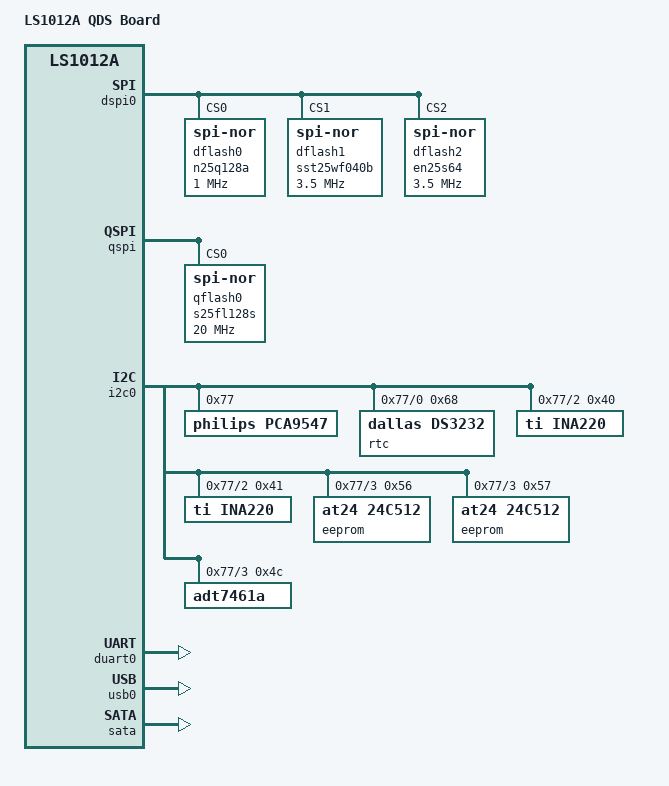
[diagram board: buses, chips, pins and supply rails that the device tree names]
// SPDX-License-Identifier: GPL-2.0+ OR X11
/*
 * Copyright 2016 Freescale Semiconductor
 */

/include/ "fsl-ls1012a.dtsi"

/ {
	model = "LS1012A QDS Board";
	aliases {
		spi0 = &qspi;
		spi1 = &dspi0;
	};
};

&dspi0 {
	bus-num = <0>;
	status = "okay";

	dflash0: n25q128a {
		#address-cells = <1>;
		#size-cells = <1>;
		compatible = "jedec,spi-nor";
		reg = <0>;
		spi-max-frequency = <1000000>; /* input clock */
	};

	dflash1: sst25wf040b {
		#address-cells = <1>;
		#size-cells = <1>;
		compatible = "jedec,spi-nor";
		spi-max-frequency = <3500000>;
		reg = <1>;
	};

	dflash2: en25s64 {
		#address-cells = <1>;
		#size-cells = <1>;
		compatible = "jedec,spi-nor";
		spi-max-frequency = <3500000>;
		reg = <2>;
	};
};

&qspi {
	bus-num = <0>;
	status = "okay";

	qflash0: s25fl128s@0 {
		#address-cells = <1>;
		#size-cells = <1>;
		compatible = "jedec,spi-nor";
		spi-max-frequency = <20000000>;
		reg = <0>;
	};
};

&i2c0 {
	status = "okay";
	pca9547@77 {
		compatible = "philips,pca9547";
		reg = <0x77>;
		#address-cells = <1>;
		#size-cells = <0>;

		i2c@0 {
			#address-cells = <1>;
			#size-cells = <0>;
			reg = <0x0>;

			rtc@68 {
				compatible = "dallas,ds3232";
				reg = <0x68>;
				/* IRQ10_B */
				interrupts = <0 150 0x4>;
			};
		};

		i2c@2 {
			#address-cells = <1>;
			#size-cells = <0>;
			reg = <0x2>;

			ina220@40 {
				compatible = "ti,ina220";
				reg = <0x40>;
				shunt-resistor = <1000>;
			};

			ina220@41 {
				compatible = "ti,ina220";
				reg = <0x41>;
				shunt-resistor = <1000>;
			};
		};

		i2c@3 {
			#address-cells = <1>;
			#size-cells = <0>;
			reg = <0x3>;

			eeprom@56 {
				compatible = "at24,24c512";
				reg = <0x56>;
			};

			eeprom@57 {
				compatible = "at24,24c512";
				reg = <0x57>;
			};

			adt7461a@4c {
				compatible = "adt7461a";
				reg = <0x4c>;
			};
		};
	};
};

&duart0 {
	status = "okay";
};

&usb0 {
	status = "okay";
	phy_type = "ulpi";
};

&sata {
	status = "okay";
};
